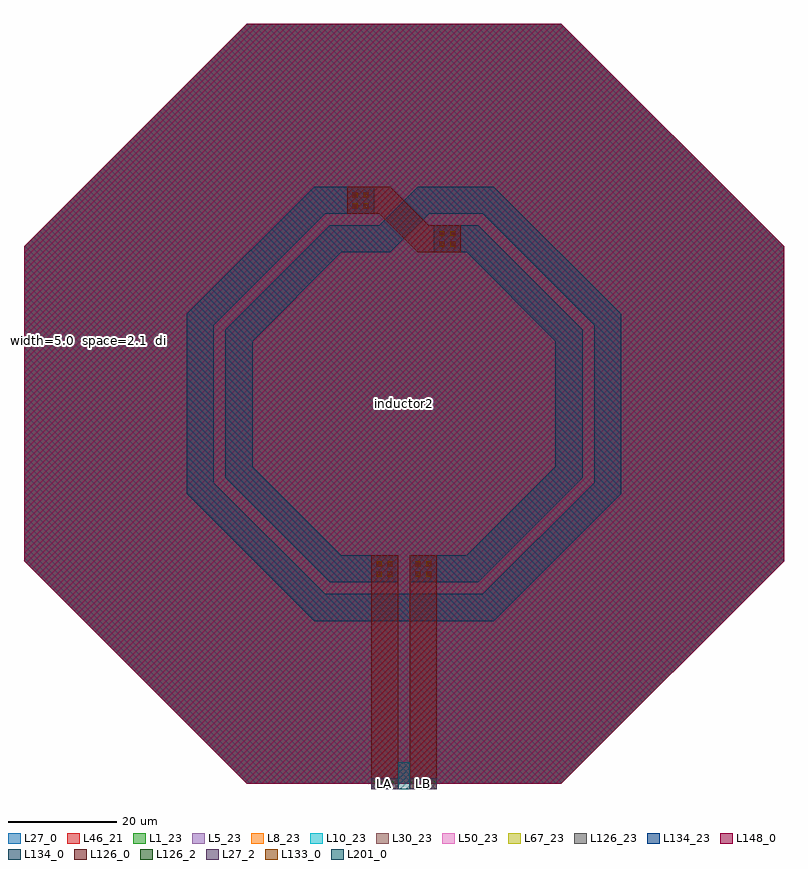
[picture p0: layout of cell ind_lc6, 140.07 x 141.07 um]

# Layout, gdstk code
import gdstk
lib = gdstk.Library(unit=1e-6, precision=1e-09)
def R(c, l, rs):  # rectangles x0, y0, x1, y1
    for r in rs: c.add(gdstk.rectangle(r[:2], r[2:], *l))
def P(c, l, *ps):  # polygons
    for p in ps: c.add(gdstk.Polygon(p, *l))
L1_23 = (1, 23)
L5_23 = (5, 23)
L8_23 = (8, 23)
L10_23 = (10, 23)
L27_0 = (27, 0)
L27_2 = (27, 2)
L30_23 = (30, 23)
L46_21 = (46, 21)
L50_23 = (50, 23)
L67_23 = (67, 23)
L126_0 = (126, 0)
L126_2 = (126, 2)
L126_23 = (126, 23)
L133_0 = (133, 0)
L134_0 = (134, 0)
L134_23 = (134, 23)
L148_0 = (148, 0)
L201_0 = (201, 0)

ind_lc6 = lib.new_cell('ind_lc6')
P(ind_lc6, L1_23, [(-29.005,0),(-70.035,41.03),(-70.035,99.04),(-29.005,140.07),(29.005,140.07),(70.035,99.04),(70.035,41.03),(29.005,0)])
P(ind_lc6, L5_23, [(-29.005,0),(-70.035,41.03),(-70.035,99.04),(-29.005,140.07),(29.005,140.07),(70.035,99.04),(70.035,41.03),(29.005,0)])
P(ind_lc6, L8_23, [(-29.005,0),(-70.035,41.03),(-70.035,99.04),(-29.005,140.07),(29.005,140.07),(70.035,99.04),(70.035,41.03),(29.005,0)])
P(ind_lc6, L10_23, [(-29.005,0),(-70.035,41.03),(-70.035,99.04),(-29.005,140.07),(29.005,140.07),(70.035,99.04),(70.035,41.03),(29.005,0)])
P(ind_lc6, L27_0, [(-29.005,0),(-70.035,41.03),(-70.035,99.04),(-29.005,140.07),(29.005,140.07),(70.035,99.04),(70.035,41.03),(29.005,0)])
R(ind_lc6, L27_2, [(-6.05,-1,-1.05,1), (1.05,-1,6.05,1)])
P(ind_lc6, L30_23, [(-29.005,0),(-70.035,41.03),(-70.035,99.04),(-29.005,140.07),(29.005,140.07),(70.035,99.04),(70.035,41.03),(29.005,0)])
P(ind_lc6, L46_21, [(-29.005,0),(-70.035,41.03),(-70.035,99.04),(-29.005,140.07),(29.005,140.07),(70.035,99.04),(70.035,41.03),(29.005,0)])
P(ind_lc6, L50_23, [(-29.005,0),(-70.035,41.03),(-70.035,99.04),(-29.005,140.07),(29.005,140.07),(70.035,99.04),(70.035,41.03),(29.005,0)])
P(ind_lc6, L67_23, [(-29.005,0),(-70.035,41.03),(-70.035,99.04),(-29.005,140.07),(29.005,140.07),(70.035,99.04),(70.035,41.03),(29.005,0)])
P(ind_lc6, L126_0, [(2.535,97.93),(-4.585,105.05),(-10.475,105.05),(-10.475,110.05),(-2.535,110.05),(4.585,102.93),(10.475,102.93),(10.475,97.93)])
R(ind_lc6, L126_2, [(-6.05,-1,-1.05,1), (-6.05,-1,-1.05,1), (1.05,-1,6.05,1), (1.05,-1,6.05,1)])
P(ind_lc6, L126_23, [(-29.005,0),(-70.035,41.03),(-70.035,99.04),(-29.005,140.07),(29.005,140.07),(70.035,99.04),(70.035,41.03),(29.005,0)])
R(ind_lc6, L133_0, [(-4.98,38.17,-4.08,39.07), (-3.02,38.17,-2.12,39.07), (2.12,38.17,3.02,39.07), (4.08,38.17,4.98,39.07), (-4.98,40.13,-4.08,41.03), (-3.02,40.13,-2.12,41.03), (2.12,40.13,3.02,41.03), (4.08,40.13,4.98,41.03), (6.545,99,7.445,99.9), (8.505,99,9.405,99.9), (6.545,100.96,7.445,101.86), (8.505,100.96,9.405,101.86), (-9.405,106.1,-8.505,107), (-7.445,106.1,-6.545,107), (-9.405,108.06,-8.505,108.96), (-7.445,108.06,-6.545,108.96)])
R(ind_lc6, L134_0, [(-5.475,30,5.475,35)])
P(ind_lc6, L134_0, [(1.05,37.1),(1.05,42.1),(11.56,42.1),(27.915,58.455),(27.915,81.575),(11.56,97.93),(5.475,97.93),(5.475,102.93),(13.64,102.93),(32.915,83.655),(32.915,56.375),(13.64,37.1)],
  [(-13.64,37.1),(-32.915,56.375),(-32.915,83.655),(-13.64,102.93),(-5.475,102.93),(-5.475,97.93),(-11.56,97.93),(-27.915,81.575),(-27.915,58.455),(-11.56,42.1),(-1.05,42.1),(-1.05,37.1)],
  [(-5.475,97.93),(-5.475,102.93),(-4.585,102.93),(2.535,110.05),(5.475,110.05),(5.475,105.05),(4.615,105.05),(-2.505,97.93)],
  [(5.475,30),(5.475,35),(14.505,35),(35.025,55.52),(35.025,84.53),(14.505,105.05),(5.475,105.05),(5.475,110.05),(16.585,110.05),(40.025,86.61),(40.025,53.44),(16.585,30)],
  [(-16.585,30),(-40.025,53.44),(-40.025,86.61),(-16.585,110.05),(-5.475,110.05),(-5.475,105.05),(-14.505,105.05),(-35.025,84.53),(-35.025,55.52),(-14.505,35),(-5.475,35),(-5.475,30)])
P(ind_lc6, L134_23, [(-29.005,0),(-70.035,41.03),(-70.035,99.04),(-29.005,140.07),(29.005,140.07),(70.035,99.04),(70.035,41.03),(29.005,0)])
P(ind_lc6, L148_0, [(-29.005,0),(-70.035,41.03),(-70.035,99.04),(-29.005,140.07),(29.005,140.07),(70.035,99.04),(70.035,41.03),(29.005,0)])
R(ind_lc6, L201_0, [(-1.05,-1,1.05,4)])
ind_lc6.add(gdstk.FlexPath([(3.55,-1),(3.55,42.1)], 5, ends="flush", simple_path=True, layer=126, datatype=0))  # L126_0
ind_lc6.add(gdstk.FlexPath([(-3.55,-1),(-3.55,42.1)], 5, ends="flush", simple_path=True, layer=126, datatype=0))  # L126_0
ind_lc6.add(gdstk.Label('LB', (3.55,0), layer=27, texttype=25))
ind_lc6.add(gdstk.Label('LA', (-3.55,0), layer=27, texttype=25))
ind_lc6.add(gdstk.Label('inductor2', (0,70.143), layer=63, texttype=0))
ind_lc6.add(gdstk.Label('  width=5.0\n  space=2.1\n  diameter=55.83\n  turns=2', (-70.035,81.665), layer=63, texttype=0))

lib.write_gds('ind_lc6.gds')
